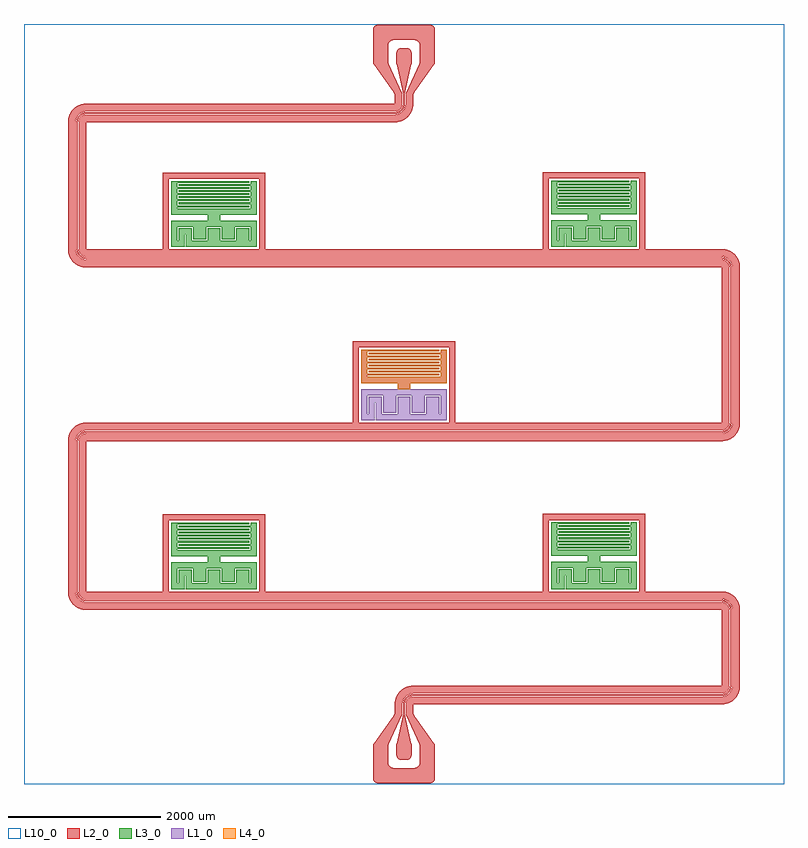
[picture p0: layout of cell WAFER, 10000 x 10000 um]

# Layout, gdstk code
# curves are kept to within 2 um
from math import pi, radians
import gdstk
lib = gdstk.Library(unit=1e-6, precision=1e-09)
def R(c, l, rs):  # rectangles x0, y0, x1, y1
    for r in rs: c.add(gdstk.rectangle(r[:2], r[2:], *l))
def A(c, l, x, y, w, h, nx, ny, dx, dy):  # array of equal rectangles
    R(c, l, [(x+i*dx, y+j*dy, x+i*dx+w, y+j*dy+h) for i in range(nx) for j in range(ny)])
def P(c, l, *ps):  # polygons
    for p in ps: c.add(gdstk.Polygon(p, *l))
L1_0 = (1, 0)
L2_0 = (2, 0)
L3_0 = (3, 0)
L4_0 = (4, 0)
L10_0 = (10, 0)

boundary = lib.new_cell('BOUNDARY')
R(boundary, L10_0, [(-5000,-5000,5000,5000)])

cpw = lib.new_cell('CPW')
R(cpw, L2_0, [(-120.75,-4000.5,-20.75,-3950.5), (-10,-4000.5,10,-3950.5), (20.75,-4000.5,120.75,-3950.5), (120.75,-3950.5,4179.25,-3850.5), (120.75,-3839.75,4179.25,-3819.75), (120.75,-3809,4179.25,-3709), (4179.25,-3709,4279.25,-2709), (4290,-3709,4310,-2709), (4320.75,-3709,4420.75,-2709), (-4179.25,-2709,4179.25,-2609), (-4179.25,-2598.25,4179.25,-2578.25), (-4179.25,-2567.5,4179.25,-2467.5), (-4420.75,-2467.5,-4320.75,-487.5), (-4310,-2467.5,-4290,-487.5), (-4279.25,-2467.5,-4179.25,-487.5), (-4179.25,-487.5,4179.25,-387.5), (-4179.25,-376.75,4179.25,-356.75), (-4179.25,-346,4179.25,-246), (4179.25,-246,4279.25,1797), (4290,-246,4310,1797), (4320.75,-246,4420.75,1797), (-4179.25,1797,4179.25,1897), (-4179.25,1907.75,4179.25,1927.75), (-4179.25,1938.5,4179.25,2038.5), (-4420.75,2038.5,-4320.75,3708.5), (-4310,2038.5,-4290,3708.5), (-4279.25,2038.5,-4179.25,3708.5), (-4179.25,3708.5,-120.75,3808.5), (-4179.25,3819.25,-120.75,3839.25), (-4179.25,3850,-120.75,3950), (-120.75,3950,-20.75,4000), (-10,3950,10,4000), (20.75,3950,120.75,4000)])
P(cpw, L2_0, [(10,3950),(7.488,3924.492),(0.047,3899.964),(-12.035,3877.359),(-28.296,3857.546),(-48.109,3841.285),(-70.714,3829.203),(-95.242,3821.762),(-120.75,3819.25),(-120.75,3839.25),(-99.144,3841.378),(-78.368,3847.68),(-59.221,3857.915),(-42.438,3871.688),(-28.665,3888.471),(-18.43,3907.618),(-12.128,3928.394),(-10,3950)],
  [(-4179.25,3839.25),(-4204.758,3836.738),(-4229.286,3829.297),(-4251.891,3817.215),(-4271.704,3800.954),(-4287.965,3781.141),(-4300.047,3758.536),(-4307.488,3734.008),(-4310,3708.5),(-4290,3708.5),(-4287.872,3730.106),(-4281.57,3750.882),(-4271.335,3770.029),(-4257.562,3786.812),(-4240.779,3800.585),(-4221.632,3810.82),(-4200.856,3817.122),(-4179.25,3819.25)],
  [(-4310,2038.5),(-4307.488,2012.992),(-4300.047,1988.464),(-4287.965,1965.859),(-4271.704,1946.046),(-4251.891,1929.785),(-4229.286,1917.703),(-4204.758,1910.262),(-4179.25,1907.75),(-4179.25,1927.75),(-4200.856,1929.878),(-4221.632,1936.18),(-4240.779,1946.415),(-4257.562,1960.188),(-4271.335,1976.971),(-4281.57,1996.118),(-4287.872,2016.894),(-4290,2038.5)],
  [(4179.25,1927.75),(4204.758,1925.238),(4229.286,1917.797),(4251.891,1905.715),(4271.704,1889.454),(4287.965,1869.641),(4300.047,1847.036),(4307.488,1822.508),(4310,1797),(4290,1797),(4287.872,1818.606),(4281.57,1839.382),(4271.335,1858.529),(4257.562,1875.312),(4240.779,1889.085),(4221.632,1899.32),(4200.856,1905.622),(4179.25,1907.75)],
  [(4310,-246),(4307.488,-271.508),(4300.047,-296.036),(4287.965,-318.641),(4271.704,-338.454),(4251.891,-354.715),(4229.286,-366.797),(4204.758,-374.238),(4179.25,-376.75),(4179.25,-356.75),(4200.856,-354.622),(4221.632,-348.32),(4240.779,-338.085),(4257.562,-324.312),(4271.335,-307.529),(4281.57,-288.382),(4287.872,-267.606),(4290,-246)],
  [(-4179.25,-356.75),(-4204.758,-359.262),(-4229.286,-366.703),(-4251.891,-378.785),(-4271.704,-395.046),(-4287.965,-414.859),(-4300.047,-437.464),(-4307.488,-461.992),(-4310,-487.5),(-4290,-487.5),(-4287.872,-465.894),(-4281.57,-445.118),(-4271.335,-425.971),(-4257.562,-409.188),(-4240.779,-395.415),(-4221.632,-385.18),(-4200.856,-378.878),(-4179.25,-376.75)],
  [(-4310,-2467.5),(-4307.488,-2493.008),(-4300.047,-2517.536),(-4287.965,-2540.141),(-4271.704,-2559.954),(-4251.891,-2576.215),(-4229.286,-2588.297),(-4204.758,-2595.738),(-4179.25,-2598.25),(-4179.25,-2578.25),(-4200.856,-2576.122),(-4221.632,-2569.82),(-4240.779,-2559.585),(-4257.562,-2545.812),(-4271.335,-2529.029),(-4281.57,-2509.882),(-4287.872,-2489.106),(-4290,-2467.5)],
  [(4179.25,-2578.25),(4204.758,-2580.762),(4229.286,-2588.203),(4251.891,-2600.285),(4271.704,-2616.546),(4287.965,-2636.359),(4300.047,-2658.964),(4307.488,-2683.492),(4310,-2709),(4290,-2709),(4287.872,-2687.394),(4281.57,-2666.618),(4271.335,-2647.471),(4257.562,-2630.688),(4240.779,-2616.915),(4221.632,-2606.68),(4200.856,-2600.378),(4179.25,-2598.25)],
  [(4310,-3709),(4307.488,-3734.508),(4300.047,-3759.036),(4287.965,-3781.641),(4271.704,-3801.454),(4251.891,-3817.715),(4229.286,-3829.797),(4204.758,-3837.238),(4179.25,-3839.75),(4179.25,-3819.75),(4200.856,-3817.622),(4221.632,-3811.32),(4240.779,-3801.085),(4257.562,-3787.312),(4271.335,-3770.529),(4281.57,-3751.382),(4287.872,-3730.606),(4290,-3709)],
  [(120.75,-3819.75),(95.242,-3822.262),(70.714,-3829.703),(48.109,-3841.785),(28.296,-3858.046),(12.035,-3877.859),(-0.047,-3900.464),(-7.488,-3924.992),(-10,-3950.5),(10,-3950.5),(12.128,-3928.894),(18.43,-3908.118),(28.665,-3888.971),(42.438,-3872.188),(59.221,-3858.415),(78.368,-3848.18),(99.144,-3841.878),(120.75,-3839.75)],
  [(-20.75,3950),(-28.016,3912.577),(-37.35,3894.823),(-50.039,3879.289),(-65.573,3866.6),(-83.327,3857.266),(-120.75,3850),(-120.75,3950)],
  [(120.75,3950),(116.733,3906.135),(103.202,3859.623),(80.66,3816.748),(50.016,3779.234),(12.502,3748.59),(-30.373,3726.048),(-76.885,3712.517),(-120.75,3708.5),(-120.75,3808.5),(-92.511,3811.346),(-67.796,3818.782),(-42.675,3831.989),(-20.694,3849.944),(-2.739,3871.925),(10.468,3897.046),(17.904,3921.761),(20.75,3950)],
  [(-4179.25,3808.5),(-4216.673,3801.234),(-4234.427,3791.9),(-4249.961,3779.211),(-4262.65,3763.677),(-4271.984,3745.923),(-4279.25,3708.5),(-4179.25,3708.5)],
  [(-4179.25,3950),(-4223.115,3945.983),(-4269.627,3932.452),(-4312.502,3909.91),(-4350.016,3879.266),(-4380.66,3841.752),(-4403.202,3798.877),(-4416.733,3752.365),(-4420.75,3708.5),(-4320.75,3708.5),(-4317.904,3736.739),(-4310.468,3761.454),(-4297.261,3786.575),(-4279.306,3808.556),(-4257.325,3826.511),(-4232.204,3839.718),(-4207.489,3847.154),(-4179.25,3850)],
  [(-4279.25,2038.5),(-4271.984,2001.077),(-4262.65,1983.323),(-4249.961,1967.789),(-4234.427,1955.1),(-4216.673,1945.766),(-4179.25,1938.5),(-4179.25,2038.5)],
  [(-4420.75,2038.5),(-4416.733,1994.635),(-4403.202,1948.123),(-4380.66,1905.248),(-4350.016,1867.734),(-4312.502,1837.09),(-4269.627,1814.548),(-4223.115,1801.017),(-4179.25,1797),(-4179.25,1897),(-4207.489,1899.846),(-4232.204,1907.282),(-4257.325,1920.489),(-4279.306,1938.444),(-4297.261,1960.425),(-4310.468,1985.546),(-4317.904,2010.261),(-4320.75,2038.5)],
  [(4179.25,1897),(4216.673,1889.734),(4234.427,1880.4),(4249.961,1867.711),(4262.65,1852.177),(4271.984,1834.423),(4279.25,1797),(4179.25,1797)],
  [(4179.25,2038.5),(4223.115,2034.483),(4269.627,2020.952),(4312.502,1998.41),(4350.016,1967.766),(4380.66,1930.252),(4403.202,1887.377),(4416.733,1840.865),(4420.75,1797),(4320.75,1797),(4317.904,1825.239),(4310.468,1849.954),(4297.261,1875.075),(4279.306,1897.056),(4257.325,1915.011),(4232.204,1928.218),(4207.489,1935.654),(4179.25,1938.5)],
  [(4279.25,-246),(4271.984,-283.423),(4262.65,-301.177),(4249.961,-316.711),(4234.427,-329.4),(4216.673,-338.734),(4179.25,-346),(4179.25,-246)],
  [(4420.75,-246),(4416.733,-289.865),(4403.202,-336.377),(4380.66,-379.252),(4350.016,-416.766),(4312.502,-447.41),(4269.627,-469.952),(4223.115,-483.483),(4179.25,-487.5),(4179.25,-387.5),(4207.489,-384.654),(4232.204,-377.218),(4257.325,-364.011),(4279.306,-346.056),(4297.261,-324.075),(4310.468,-298.954),(4317.904,-274.239),(4320.75,-246)],
  [(-4179.25,-387.5),(-4216.673,-394.766),(-4234.427,-404.1),(-4249.961,-416.789),(-4262.65,-432.323),(-4271.984,-450.077),(-4279.25,-487.5),(-4179.25,-487.5)],
  [(-4179.25,-246),(-4223.115,-250.017),(-4269.627,-263.548),(-4312.502,-286.09),(-4350.016,-316.734),(-4380.66,-354.248),(-4403.202,-397.123),(-4416.733,-443.635),(-4420.75,-487.5),(-4320.75,-487.5),(-4317.904,-459.261),(-4310.468,-434.546),(-4297.261,-409.425),(-4279.306,-387.444),(-4257.325,-369.489),(-4232.204,-356.282),(-4207.489,-348.846),(-4179.25,-346)],
  [(-4279.25,-2467.5),(-4271.984,-2504.923),(-4262.65,-2522.677),(-4249.961,-2538.211),(-4234.427,-2550.9),(-4216.673,-2560.234),(-4179.25,-2567.5),(-4179.25,-2467.5)],
  [(-4420.75,-2467.5),(-4416.733,-2511.365),(-4403.202,-2557.877),(-4380.66,-2600.752),(-4350.016,-2638.266),(-4312.502,-2668.91),(-4269.627,-2691.452),(-4223.115,-2704.983),(-4179.25,-2709),(-4179.25,-2609),(-4207.489,-2606.154),(-4232.204,-2598.718),(-4257.325,-2585.511),(-4279.306,-2567.556),(-4297.261,-2545.575),(-4310.468,-2520.454),(-4317.904,-2495.739),(-4320.75,-2467.5)],
  [(4179.25,-2609),(4216.673,-2616.266),(4234.427,-2625.6),(4249.961,-2638.289),(4262.65,-2653.823),(4271.984,-2671.577),(4279.25,-2709),(4179.25,-2709)],
  [(4179.25,-2467.5),(4223.115,-2471.517),(4269.627,-2485.048),(4312.502,-2507.59),(4350.016,-2538.234),(4380.66,-2575.748),(4403.202,-2618.623),(4416.733,-2665.135),(4420.75,-2709),(4320.75,-2709),(4317.904,-2680.761),(4310.468,-2656.046),(4297.261,-2630.925),(4279.306,-2608.944),(4257.325,-2590.989),(4232.204,-2577.782),(4207.489,-2570.346),(4179.25,-2567.5)],
  [(4279.25,-3709),(4271.984,-3746.423),(4262.65,-3764.177),(4249.961,-3779.711),(4234.427,-3792.4),(4216.673,-3801.734),(4179.25,-3809),(4179.25,-3709)],
  [(4420.75,-3709),(4416.733,-3752.865),(4403.202,-3799.377),(4380.66,-3842.252),(4350.016,-3879.766),(4312.502,-3910.41),(4269.627,-3932.952),(4223.115,-3946.483),(4179.25,-3950.5),(4179.25,-3850.5),(4207.489,-3847.654),(4232.204,-3840.218),(4257.325,-3827.011),(4279.306,-3809.056),(4297.261,-3787.075),(4310.468,-3761.954),(4317.904,-3737.239),(4320.75,-3709)],
  [(120.75,-3850.5),(83.327,-3857.766),(65.573,-3867.1),(50.039,-3879.789),(37.35,-3895.323),(28.016,-3913.077),(20.75,-3950.5),(120.75,-3950.5)],
  [(120.75,-3709),(76.885,-3713.017),(30.373,-3726.548),(-12.502,-3749.09),(-50.016,-3779.734),(-80.66,-3817.248),(-103.202,-3860.123),(-116.733,-3906.635),(-120.75,-3950.5),(-20.75,-3950.5),(-17.904,-3922.261),(-10.468,-3897.546),(2.739,-3872.425),(20.694,-3850.444),(42.675,-3832.489),(67.796,-3819.282),(92.511,-3811.846),(120.75,-3809)])

bondpad = lib.new_cell('BONDPAD')
P(bondpad, L2_0, [(10.107,-403.907),(99.038,-3.788),(99.91,133.545),(95.643,154.311),(87.453,169.989),(75.596,183.113),(60.828,192.846),(33.545,199.91),(-33.545,199.91),(-54.311,195.643),(-72.847,185.354),(-87.453,169.989),(-96.79,150.955),(-100,130),(-99.893,3.907),(-10.962,-396.212),(-10,-500),(10,-500)],
  [(-20.75,-415.536),(-27.322,-385.923),(-204.908,-3.338),(-207.5,15.536),(-207.5,237.5),(-200.346,268.328),(-407.5,268.328),(-407.406,18.872),(-398.306,-12.18),(-129.944,-387.82),(-121.126,-415.255),(-120.75,-500),(-20.75,-500)],
  [(120.75,-422.499),(123.087,-404.56),(131.822,-384.717),(401.568,-5.702),(407.5,22.499),(407.5,268.328),(200.346,268.328),(207.5,237.5),(207.5,15.536),(204.908,-3.338),(27.322,-385.923),(21.167,-407.907),(20.75,-500),(120.75,-500)],
  [(407.5,437.5),(403.143,461.811),(390.613,483.096),(368.328,500.346),(344.582,507.141),(-351.591,506.067),(-368.328,500.346),(-385.728,488.235),(-398.704,471.471),(-405.265,455.046),(-407.5,437.5),(-407.5,268.328),(-200.346,268.328),(-190.613,283.096),(-174.527,296.905),(-158.455,304.29),(-137.5,307.5),(141.045,307.41),(161.811,303.143),(177.489,294.953),(190.613,283.096),(200.346,268.328),(407.5,268.328)])

kid343_0c = lib.new_cell('KID343.0c')
A(kid343_0c, L3_0, -485, 91.5, 950, 20, 1, 5, 0, 80)
A(kid343_0c, L3_0, -465, 131.5, 950, 20, 1, 4, 0, 80)
P(kid343_0c, L3_0, [(5,-431.5),(5,-268.5),(0,-268.5),(0,-188.5),(85,-188.5),(85,-351.5),(295,-351.5),(295,-188.5),(465,-188.5),(465,-351.5),(485,-351.5),(485,-168.5),(275,-168.5),(275,-331.5),(105,-331.5),(105,-168.5),(5,-168.5),(5,-88.5),(185,-88.5),(185,-251.5),(195,-251.5),(195,-88.5),(565,-88.5),(565,-431.5),(385,-431.5),(385,-268.5),(375,-268.5),(375,-431.5)],
  [(-565,-431.5),(-565,-88.5),(-195,-88.5),(-195,-251.5),(-185,-251.5),(-185,-88.5),(-5,-88.5),(-5,-168.5),(-105,-168.5),(-105,-331.5),(-275,-331.5),(-275,-168.5),(-485,-168.5),(-485,-351.5),(-465,-351.5),(-465,-188.5),(-295,-188.5),(-295,-351.5),(-85,-351.5),(-85,-188.5),(0,-188.5),(0,-268.5),(-5,-268.5),(-5,-431.5),(-375,-431.5),(-375,-268.5),(-385,-268.5),(-385,-431.5)],
  [(-85,-88.5),(-85,-8.5),(-565,-8.5),(-565,431.5),(-485,431.5),(-485,71.5),(-5,71.5),(-5,-88.5)],
  [(5,-88.5),(5,71.5),(485,71.5),(485,431.5),(565,431.5),(565,-8.5),(85,-8.5),(85,-88.5)])

ground_shield_343c = lib.new_cell('GROUND_SHIELD_343c')
P(ground_shield_343c, L2_0, [(-675,-501.5),(-675,501.5),(675,501.5),(675,-501.5),(595,-501.5),(595,421.5),(-595,421.5),(-595,-501.5)])

kid343 = lib.new_cell('KID343')
kid343.add(gdstk.Reference(kid343_0c, (0,0)))
kid343.add(gdstk.Reference(ground_shield_343c, (0,40)))

kid349_0c = lib.new_cell('KID349.0c')
A(kid349_0c, L3_0, -485, 94.5, 950, 20, 1, 5, 0, 80)
A(kid349_0c, L3_0, -465, 134.5, 950, 20, 1, 4, 0, 80)
P(kid349_0c, L3_0, [(5,-434.5),(5,-265.5),(0,-265.5),(0,-185.5),(85,-185.5),(85,-354.5),(295,-354.5),(295,-185.5),(465,-185.5),(465,-354.5),(485,-354.5),(485,-165.5),(275,-165.5),(275,-334.5),(105,-334.5),(105,-165.5),(5,-165.5),(5,-85.5),(185,-85.5),(185,-254.5),(195,-254.5),(195,-85.5),(565,-85.5),(565,-434.5),(385,-434.5),(385,-265.5),(375,-265.5),(375,-434.5)],
  [(-565,-434.5),(-565,-85.5),(-195,-85.5),(-195,-254.5),(-185,-254.5),(-185,-85.5),(-5,-85.5),(-5,-165.5),(-105,-165.5),(-105,-334.5),(-275,-334.5),(-275,-165.5),(-485,-165.5),(-485,-354.5),(-465,-354.5),(-465,-185.5),(-295,-185.5),(-295,-354.5),(-85,-354.5),(-85,-185.5),(0,-185.5),(0,-265.5),(-5,-265.5),(-5,-434.5),(-375,-434.5),(-375,-265.5),(-385,-265.5),(-385,-434.5)],
  [(-85,-85.5),(-85,-5.5),(-565,-5.5),(-565,434.5),(-485,434.5),(-485,74.5),(-5,74.5),(-5,-85.5)],
  [(5,-85.5),(5,74.5),(485,74.5),(485,434.5),(565,434.5),(565,-5.5),(85,-5.5),(85,-85.5)])

ground_shield_349c = lib.new_cell('GROUND_SHIELD_349c')
P(ground_shield_349c, L2_0, [(-675,-504.5),(-675,504.5),(675,504.5),(675,-504.5),(595,-504.5),(595,424.5),(-595,424.5),(-595,-504.5)])

kid349 = lib.new_cell('KID349')
kid349.add(gdstk.Reference(kid349_0c, (0,3)))
kid349.add(gdstk.Reference(ground_shield_349c, (0,43)))

kid355_0c = lib.new_cell('KID355.0c')
A(kid355_0c, L3_0, -485, 97.5, 950, 20, 1, 5, 0, 80)
A(kid355_0c, L3_0, -465, 137.5, 950, 20, 1, 4, 0, 80)
P(kid355_0c, L3_0, [(5,-437.5),(5,-262.5),(0,-262.5),(0,-182.5),(85,-182.5),(85,-357.5),(295,-357.5),(295,-182.5),(465,-182.5),(465,-357.5),(485,-357.5),(485,-162.5),(275,-162.5),(275,-337.5),(105,-337.5),(105,-162.5),(5,-162.5),(5,-82.5),(185,-82.5),(185,-257.5),(195,-257.5),(195,-82.5),(565,-82.5),(565,-437.5),(385,-437.5),(385,-262.5),(375,-262.5),(375,-437.5)],
  [(-565,-437.5),(-565,-82.5),(-195,-82.5),(-195,-257.5),(-185,-257.5),(-185,-82.5),(-5,-82.5),(-5,-162.5),(-105,-162.5),(-105,-337.5),(-275,-337.5),(-275,-162.5),(-485,-162.5),(-485,-357.5),(-465,-357.5),(-465,-182.5),(-295,-182.5),(-295,-357.5),(-85,-357.5),(-85,-182.5),(0,-182.5),(0,-262.5),(-5,-262.5),(-5,-437.5),(-375,-437.5),(-375,-262.5),(-385,-262.5),(-385,-437.5)],
  [(-85,-82.5),(-85,-2.5),(-565,-2.5),(-565,437.5),(-485,437.5),(-485,77.5),(-5,77.5),(-5,-82.5)],
  [(5,-82.5),(5,77.5),(485,77.5),(485,437.5),(565,437.5),(565,-2.5),(85,-2.5),(85,-82.5)])

ground_shield_355c = lib.new_cell('GROUND_SHIELD_355c')
P(ground_shield_355c, L2_0, [(-675,-507.5),(-675,507.5),(675,507.5),(675,-507.5),(595,-507.5),(595,427.5),(-595,427.5),(-595,-507.5)])

kid355 = lib.new_cell('KID355')
kid355.add(gdstk.Reference(kid355_0c, (0,0)))
kid355.add(gdstk.Reference(ground_shield_355c, (0,40)))

kid361_0c = lib.new_cell('KID361.0c')
A(kid361_0c, L3_0, -485, 100.5, 950, 20, 1, 5, 0, 80)
A(kid361_0c, L3_0, -465, 140.5, 950, 20, 1, 4, 0, 80)
P(kid361_0c, L3_0, [(5,-440.5),(5,-259.5),(0,-259.5),(0,-179.5),(85,-179.5),(85,-360.5),(295,-360.5),(295,-179.5),(465,-179.5),(465,-360.5),(485,-360.5),(485,-159.5),(275,-159.5),(275,-340.5),(105,-340.5),(105,-159.5),(5,-159.5),(5,-79.5),(185,-79.5),(185,-260.5),(195,-260.5),(195,-79.5),(565,-79.5),(565,-440.5),(385,-440.5),(385,-259.5),(375,-259.5),(375,-440.5)],
  [(-565,-440.5),(-565,-79.5),(-195,-79.5),(-195,-260.5),(-185,-260.5),(-185,-79.5),(-5,-79.5),(-5,-159.5),(-105,-159.5),(-105,-340.5),(-275,-340.5),(-275,-159.5),(-485,-159.5),(-485,-360.5),(-465,-360.5),(-465,-179.5),(-295,-179.5),(-295,-360.5),(-85,-360.5),(-85,-179.5),(0,-179.5),(0,-259.5),(-5,-259.5),(-5,-440.5),(-375,-440.5),(-375,-259.5),(-385,-259.5),(-385,-440.5)],
  [(-85,-79.5),(-85,0.5),(-565,0.5),(-565,440.5),(-485,440.5),(-485,80.5),(-5,80.5),(-5,-79.5)],
  [(5,-79.5),(5,80.5),(485,80.5),(485,440.5),(565,440.5),(565,0.5),(85,0.5),(85,-79.5)])

ground_shield_361c = lib.new_cell('GROUND_SHIELD_361c')
P(ground_shield_361c, L2_0, [(-675,-510.5),(-675,510.5),(675,510.5),(675,-510.5),(595,-510.5),(595,430.5),(-595,430.5),(-595,-510.5)])

kid361 = lib.new_cell('KID361')
kid361.add(gdstk.Reference(kid361_0c, (0,3)))
kid361.add(gdstk.Reference(ground_shield_361c, (0,43)))

kid412_0c = lib.new_cell('KID412.0c')
A(kid412_0c, L1_0, -485, 126, 950, 20, 1, 5, 0, 80)
A(kid412_0c, L1_0, -465, 166, 950, 20, 1, 4, 0, 80)
P(kid412_0c, L1_0, [(5,-466),(5,-234),(0,-234),(0,-154),(85,-154),(85,-386),(295,-386),(295,-154),(465,-154),(465,-386),(485,-386),(485,-134),(275,-134),(275,-366),(105,-366),(105,-134),(5,-134),(5,-54),(185,-54),(185,-286),(195,-286),(195,-54),(565,-54),(565,-466),(385,-466),(385,-234),(375,-234),(375,-466)],
  [(-565,-466),(-565,-54),(-195,-54),(-195,-286),(-185,-286),(-185,-54),(-5,-54),(-5,-134),(-105,-134),(-105,-366),(-275,-366),(-275,-134),(-485,-134),(-485,-386),(-465,-386),(-465,-154),(-295,-154),(-295,-386),(-85,-386),(-85,-154),(0,-154),(0,-234),(-5,-234),(-5,-466),(-375,-466),(-375,-234),(-385,-234),(-385,-466)],
  [(-85,-54),(-85,26),(-565,26),(-565,466),(-485,466),(-485,106),(-5,106),(-5,-54)],
  [(5,-54),(5,106),(485,106),(485,466),(565,466),(565,26),(85,26),(85,-54)])

capacitor412_0c = lib.new_cell('CAPACITOR412.0c')
A(capacitor412_0c, L4_0, -485, -80, 950, 20, 1, 5, 0, 80)
A(capacitor412_0c, L4_0, -465, -40, 950, 20, 1, 4, 0, 80)
P(capacitor412_0c, L4_0, [(-85,-260),(-85,-180),(-565,-180),(-565,260),(-485,260),(-485,-100),(-5,-100),(-5,-260)],
  [(5,-260),(5,-100),(485,-100),(485,260),(565,260),(565,-180),(85,-180),(85,-260)])

ground_shield_412c = lib.new_cell('GROUND_SHIELD_412c')
P(ground_shield_412c, L2_0, [(-675,-536),(-675,536),(675,536),(675,-536),(595,-536),(595,456),(-595,456),(-595,-536)])

kid412 = lib.new_cell('KID412')
kid412.add(gdstk.Reference(kid412_0c, (0,0)))
kid412.add(gdstk.Reference(capacitor412_0c, (0,206)))
kid412.add(gdstk.Reference(ground_shield_412c, (0,40)))

wafer = lib.new_cell('WAFER')
wafer.add(gdstk.Reference(boundary, (0,0)))
wafer.add(gdstk.Reference(cpw, (0,0)))
wafer.add(gdstk.Reference(bondpad, (0,4482.5)))
wafer.add(gdstk.Reference(bondpad, (0,-4482.5), rotation=pi))
wafer.add(gdstk.Reference(kid343, (-2500,2500)))
wafer.add(gdstk.Reference(kid349, (2500,2500)))
wafer.add(gdstk.Reference(kid355, (-2500,-2000)))
wafer.add(gdstk.Reference(kid361, (2500,-2000)))
wafer.add(gdstk.Reference(kid412, (0,250)))

lib.write_gds('WAFER.gds')
